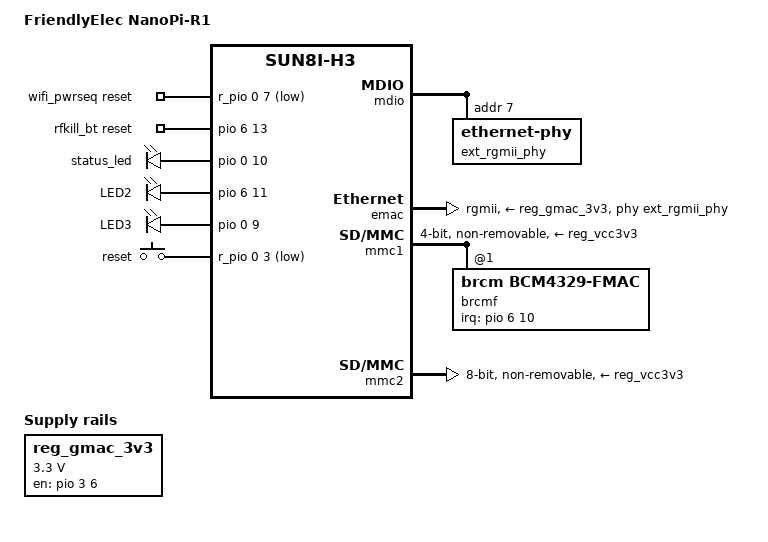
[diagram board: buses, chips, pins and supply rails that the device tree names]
/*
 * Copyright (C) 2017 Jagan Teki <jteki@openedev.com>
 *
 * This file is dual-licensed: you can use it either under the terms
 * of the GPL or the X11 license, at your option. Note that this dual
 * licensing only applies to this file, and not this project as a
 * whole.
 *
 *  a) This file is free software; you can redistribute it and/or
 *     modify it under the terms of the GNU General Public License as
 *     published by the Free Software Foundation; either version 2 of the
 *     License, or (at your option) any later version.
 *
 *     This file is distributed in the hope that it will be useful,
 *     but WITHOUT ANY WARRANTY; without even the implied warranty of
 *     MERCHANTABILITY or FITNESS FOR A PARTICULAR PURPOSE.  See the
 *     GNU General Public License for more details.
 *
 * Or, alternatively,
 *
 *  b) Permission is hereby granted, free of charge, to any person
 *     obtaining a copy of this software and associated documentation
 *     files (the "Software"), to deal in the Software without
 *     restriction, including without limitation the rights to use,
 *     copy, modify, merge, publish, distribute, sublicense, and/or
 *     sell copies of the Software, and to permit persons to whom the
 *     Software is furnished to do so, subject to the following
 *     conditions:
 *
 *     The above copyright notice and this permission notice shall be
 *     included in all copies or substantial portions of the Software.
 *
 *     THE SOFTWARE IS PROVIDED "AS IS", WITHOUT WARRANTY OF ANY KIND,
 *     EXPRESS OR IMPLIED, INCLUDING BUT NOT LIMITED TO THE WARRANTIES
 *     OF MERCHANTABILITY, FITNESS FOR A PARTICULAR PURPOSE AND
 *     NONINFRINGEMENT. IN NO EVENT SHALL THE AUTHORS OR COPYRIGHT
 *     HOLDERS BE LIABLE FOR ANY CLAIM, DAMAGES OR OTHER LIABILITY,
 *     WHETHER IN AN ACTION OF CONTRACT, TORT OR OTHERWISE, ARISING
 *     FROM, OUT OF OR IN CONNECTION WITH THE SOFTWARE OR THE USE OR
 *     OTHER DEALINGS IN THE SOFTWARE.
 */

#include "sun8i-h3-nanopi.dtsi"

/ {
	model = "FriendlyElec NanoPi-R1";
	compatible = "friendlyelec,nanopi-r1", "allwinner,sun8i-h3";

	wifi_pwrseq: wifi_pwrseq {
		compatible = "mmc-pwrseq-simple";
		pinctrl-names = "default";
		pinctrl-0 = <&wifi_en_npi>;
		reset-gpios = <&r_pio 0 7 GPIO_ACTIVE_LOW>; /* PL7 */
		post-power-on-delay-ms = <200>;
	};

	reg_gmac_3v3: gmac-3v3 {
		compatible = "regulator-fixed";
		regulator-name = "gmac-3v3";
		regulator-min-microvolt = <3300000>;
		regulator-max-microvolt = <3300000>;
		startup-delay-us = <100000>;
		enable-active-high;
		gpio = <&pio 3 6 GPIO_ACTIVE_HIGH>;
	};

	rfkill_bt {
		compatible = "rfkill-gpio";
		pinctrl-names = "default";
		pinctrl-0 = <&bt_pwr_pin>;
		reset-gpios = <&pio 6 13 GPIO_ACTIVE_HIGH>; /* PG13 */
		clocks = <&osc32k>;
		clock-frequency = <32768>;
		rfkill-name = "sunxi-bt";
		rfkill-type = "bluetooth";
	};

	leds {
		/delete-node/ status;
		/delete-node/ pwr;
		status {
			label = "status_led";
			gpios = <&pio 0 10 GPIO_ACTIVE_HIGH>;
			linux,default-trigger = "heartbeat";
		};

		led2 {
			label = "LED2";
			gpios = <&pio 6 11 GPIO_ACTIVE_HIGH>;
			default-state = "off";
			linux,default-trigger = "netdev";
		};

		led3 {
			label = "LED3";
			gpios = <&pio 0 9 GPIO_ACTIVE_HIGH>;
			default-state = "off";
			linux,default-trigger = "netdev";
		};
	};

	r_gpio_keys {
		compatible = "gpio-keys";
		input-name = "k1";
		pinctrl-names = "default";
		pinctrl-0 = <&sw_r_npi>;

		/delete-node/ k1;
		reset {
			label = "reset";
			linux,code = <BTN_1>;
			gpios = <&r_pio 0 3 GPIO_ACTIVE_LOW>;
		};
	};
};

&pio {
	bt_pwr_pin: bt_pwr_pin@0 {
		pins = "PG13";
		function = "gpio_out";
	};
};

&r_pio {
	wifi_en_npi: wifi_en_pin {
		pins = "PL7";
		function = "gpio_out";
	};
};

&mdio {
	ext_rgmii_phy: ethernet-phy@1 {
		reg = <7>;
	};
};

&emac {
	pinctrl-names = "default";
	pinctrl-0 = <&emac_rgmii_pins>;
	phy-supply = <&reg_gmac_3v3>;
	phy-handle = <&ext_rgmii_phy>;
	phy-mode = "rgmii";

	allwinner,leds-active-low;
	status = "okay";
};

&mmc1 {
	pinctrl-names = "default";
	pinctrl-0 = <&mmc1_pins_a>;
	vmmc-supply = <&reg_vcc3v3>;
	vqmmc-supply = <&reg_vcc3v3>;
	mmc-pwrseq = <&wifi_pwrseq>;
	bus-width = <4>;
	non-removable;
	status = "okay";

	brcmf: bcrmf@1 {
		reg = <1>;
		compatible = "brcm,bcm4329-fmac";
		interrupt-parent = <&pio>;
		interrupts = <6 10 IRQ_TYPE_LEVEL_LOW>; /* PG10 / EINT10 */
		interrupt-names = "host-wake";
	};
};

&mmc2 {
	pinctrl-names = "default";
	pinctrl-0 = <&mmc2_8bit_pins>;
	vmmc-supply = <&reg_vcc3v3>;
	bus-width = <8>;
	non-removable;
	cap-mmc-hw-reset;
	status = "okay";
};

&mmc2_8bit_pins {
	/* Increase drive strength for DDR modes */
	drive-strength = <40>;
	/* eMMC is missing pull-ups */
	bias-pull-up;
};
